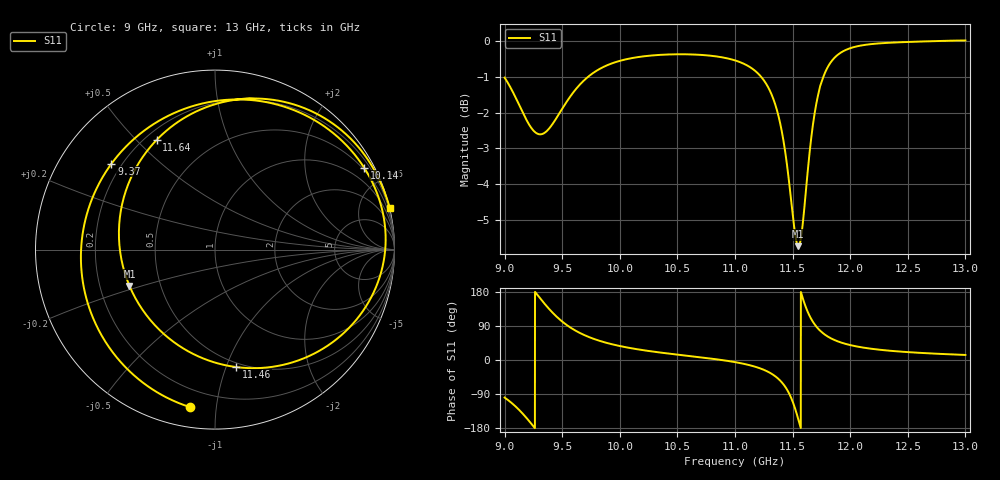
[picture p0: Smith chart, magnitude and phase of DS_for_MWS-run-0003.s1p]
! TOUCHSTONE file generated by CST DESIGN STUDIO
! Date and time: Tue Feb  4 15:52:01 2025
! Project name: C:\Work\MatlabApps\UnitCellOptimizationMatlab\CST\unitcell.cst
! Tree item: Tasks\Sweep1\SPara1\S-Parameters
! Header version: 2024
! Port assignment regex: !\s*Touchstone port\s*([0-9]+)\s*=\s*(CST MWS port|CST DES external port|CST DES block port)\s*(.+)\s* \(\"(.*)\"\)(\s*mode\s*([0-9]+))?.*
! Touchstone port assignment:
! Touchstone port 1 = CST DES external port 1 ("")
# GHz S MA R 50
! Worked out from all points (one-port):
!   4001 points, 9 GHz to 13 GHz, reference 50 ohm
!   lowest |S11| = -5.7 dB at 11.55 GHz (marker M1), VSWR 3.15, Z = 16.5 - j9.1 ohm
!   |S11| at or under -10 dB: nowhere
!   S11 on the Smith chart (normalised r, x): 9 GHz: 0.10, -0.85; 9.37 GHz: 0.16, +0.35; 10.14 GHz: 0.43, +3.85; 11.46 GHz: 0.46, -1.08; 11.64 GHz: 0.24, +0.58; 13 GHz: -0.03, +8.55
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9  0.8884 -99.1
9.104  0.8281 -125.1
9.213  0.7641 -161.2
9.288  0.7418 170.5
9.37  0.7496 140.3
9.434  0.7732 119.5
9.5  0.804 101.5
9.597  0.8475 80.8
9.727  0.8913 61.2
10  0.9374 36.9
10.143  0.948 28.8
10.5  0.9573 14.2
11  0.9388 -5.6
11.174  0.908 -17.6
11.292  0.8588 -31.9
11.38  0.7825 -50.7
11.455  0.6647 -79.9
11.5  0.5746 -109.3
11.55  0.5176 -157.0
11.594  0.5676 157.5
11.645  0.6926 117.9
11.709  0.822 87.1
11.801  0.9163 62.7
11.888  0.9546 49.7
12  0.9762 39.4
12.196  0.9896 29.2
12.5  0.9959 20.8
13  1.001 13.3
